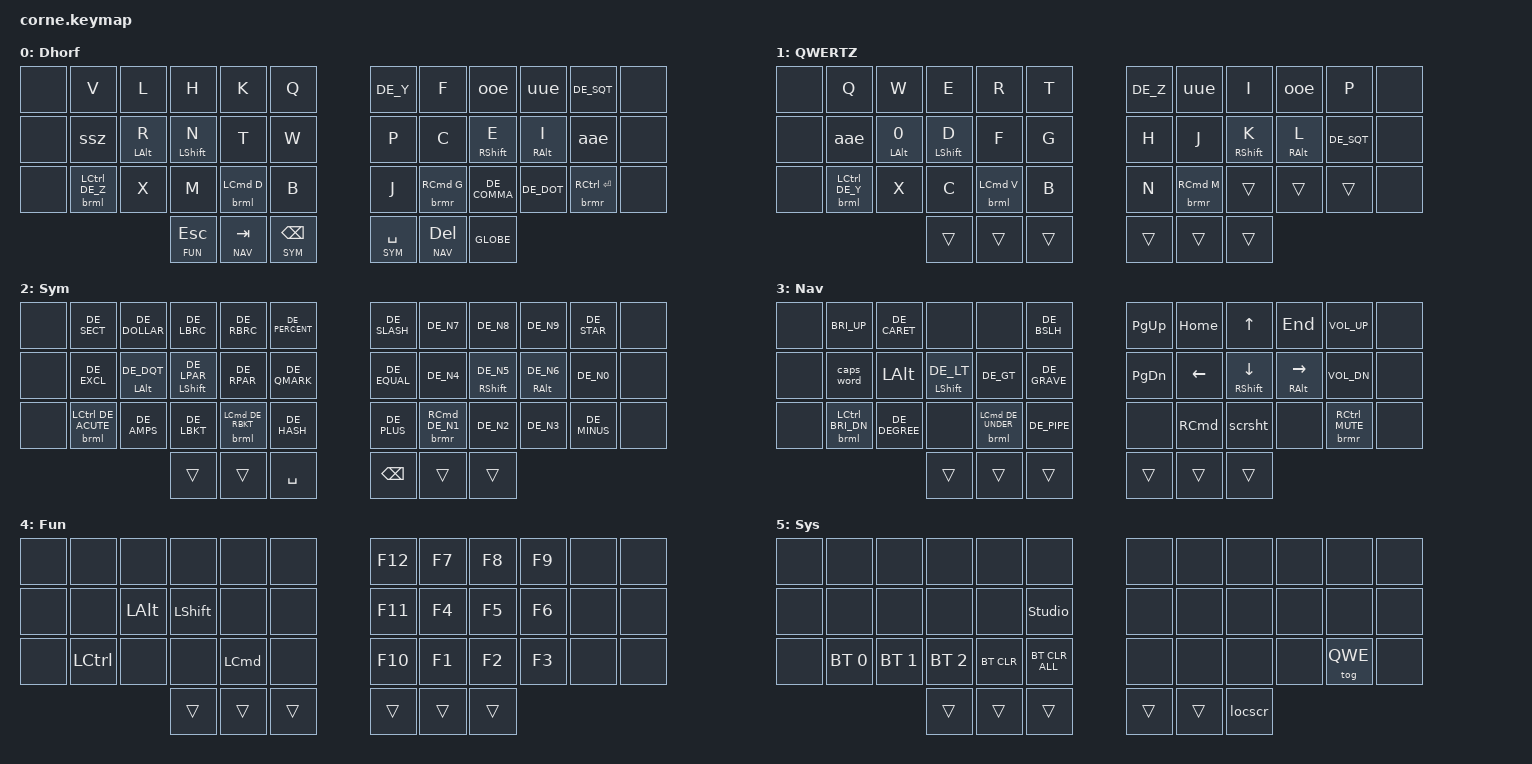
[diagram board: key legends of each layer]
/*
 * Copyright (c) 2020 The ZMK Contributors
 *
 * SPDX-License-Identifier: MIT
 */

#include <behaviors.dtsi>
#include <dt-bindings/zmk/bt.h>
#include <dt-bindings/zmk/keys.h>

#include "keys_de.h"
#include "zmk-helpers/helper.h"
#include "zmk-helpers/key-labels/42.h"

#define KEYS_L LT0 LT1 LT2 LT3 LT4 LM0 LM1 LM2 LM3 LM4 LB0 LB1 LB2 LB3 LB4
#define KEYS_R RT0 RT1 RT2 RT3 RT4 RM0 RM1 RM2 RM3 RM4 RB0 RB1 RB2 RB3 RB4
#define THUMBS_L LH2 LH1 LH0
#define THUMBS_R RH2 RH1 RH0

#define DHO 0
#define QWE 1
#define SYM 2
#define NAV 3
#define FUN 4
#define SYS 5

// CTRL and CMD
#define MAKE_BRM(NAME, HOLD, TAP, TRIGGER_POS)                           \
  ZMK_HOLD_TAP(NAME, bindings = <HOLD>, <TAP>; flavor = "balanced";      \
              tapping-term-ms = <250>; quick-tap-ms = <175>;             \
              require-prior-idle-ms = <150>; hold-trigger-on-release; hold-trigger-key-positions = <TRIGGER_POS>;)

// SHIFT and ALT
#define MAKE_HRM(NAME, HOLD, TAP, TRIGGER_POS)                           \
  ZMK_HOLD_TAP(NAME, bindings = <HOLD>, <TAP>; flavor = "balanced";      \
              tapping-term-ms = <180>; quick-tap-ms = <175>;             \
              hold-trigger-on-release; hold-trigger-key-positions = <TRIGGER_POS>;)

// Left-hand
MAKE_HRM(hrml, &kp, &kp, KEYS_R THUMBS_R)
MAKE_HRM(hrmsz, &kp, &ssz, KEYS_R THUMBS_R)
MAKE_BRM(brml, &kp, &kp, KEYS_R THUMBS_R)


// Right-hand
MAKE_BRM(brmr, &kp, &kp, KEYS_L THUMBS_L)
MAKE_HRM(hrmr, &kp, &kp, KEYS_L THUMBS_L)

&lt {
  flavor = "balanced";
  tapping-term-ms = <250>;
  quick-tap-ms = <200>;
};

&caps_word {
  continue-list = <DE_UNDERSCORE DE_MINUS BACKSPACE DELETE>;
};

/ {

  behaviors {
    uue: umlaut_ue {
        compatible = "zmk,behavior-mod-morph";
        #binding-cells = <0>;
        bindings = <&kp U>, <&kp DE_U_UMLAUT>;
        mods = <(MOD_LALT|MOD_RALT)>;
    };
    aae: umlaut_ae {
        compatible = "zmk,behavior-mod-morph";
        #binding-cells = <0>;
        bindings = <&kp A>, <&kp DE_A_UMLAUT>;
        mods = <(MOD_LALT|MOD_RALT)>;
    };
    ooe: umlaut_oe {
        compatible = "zmk,behavior-mod-morph";
        #binding-cells = <0>;
        bindings = <&kp O>, <&kp DE_O_UMLAUT>;
        mods = <(MOD_LALT|MOD_RALT)>;
    };
    ssz: sharp_s {
        compatible = "zmk,behavior-mod-morph";
        #binding-cells = <0>;
        bindings = <&kp S>, <&kp DE_SZ>;
        mods = <(MOD_LALT|MOD_RALT)>;
    };
  };

  macros {
    locscr: lock_screen {
        compatible = "zmk,behavior-macro";
        #binding-cells = <0>;
        bindings =
                <&macro_press &kp RCTRL &kp RCMD>,
                <&macro_tap &kp Q>,
                <&macro_release &kp RCTRL &kp RCMD>;
    };
    scrsht: screen_shot {
        compatible = "zmk,behavior-macro";
        #binding-cells = <0>;
        bindings =
                <&macro_press &kp LCMD &kp LSHFT>,
                <&macro_tap &kp DE_N4>,
                <&macro_release &kp LCMD &kp LSHFT>;
    };
  };

  keymap {
    compatible = "zmk,keymap";
    dhorf_layer {
      display-name = "Dhorf";
// -----------------------------------------------------------------------------------------
// |      |  V  |  L  |  H  |  K  |  Q  |   |  Y  |  F  |  O  |  U  |  '  |      |
// |      |  S  |  R  |  N  |  T  |  W  |   |  P  |  C  |  E  |  I  |  A  |      |
// |      |  Z  |  X  |  M  |  D  |  B  |   |  J  |  G  |  ,  |  .  | RET |      |
//                    | ESC | TAB |BSPC |   |SPACE| DEL |GLOBE|
                        bindings = <
   &none &kp V            &kp L        &kp H         &kp K        &kp Q          &kp DE_Y      &kp F        &ooe          &uue         &kp DE_SQT      &none
   &none &ssz             &hrml LALT R &hrml LSHFT N &kp T        &kp W          &kp P         &kp C        &hrmr RSHFT E &hrmr RALT I &aae            &none
   &none &brml LCTRL DE_Z &kp X        &kp M         &brml LCMD D &kp B          &kp J         &brmr RCMD G &kp DE_COMMA  &kp DE_DOT   &brmr RCTRL RET &none
                                       &lt FUN ESC   &lt NAV TAB  &lt SYM BSPC   &lt SYM SPACE &lt NAV DEL  &kp GLOBE
                        >;
    };

    qwertz_layer {
      display-name = "QWERTZ";
// -----------------------------------------------------------------------------------------
// |      |  Q  |  W  |  E  |  R  |  T  |   |  Z  |  U  |  I  |  O  |  P  |      |
// |      |  A  |  S  |  D  |  F  |  G  |   |  H  |  J  |  K  |  L  |  '  |      |
// |      |  Y  |  X  |  C  |  V  |  B  |   |  N  |  M  |  ,  |  .  | RET |      |
//                    | ESC | TAB |BSPC |   |SPACE| DEL |GLOBE|
                        bindings = <
   &none &kp Q            &kp W         &kp E         &kp R        &kp T    &kp DE_Z      &uue         &kp I         &ooe         &kp P      &none
   &none &aae             &hrmsz LALT 0 &hrml LSHFT D &kp F        &kp G    &kp H         &kp J        &hrmr RSHFT K &hrmr RALT L &kp DE_SQT &none
   &none &brml LCTRL DE_Y &kp X         &kp C         &brml LCMD V &kp B    &kp N         &brmr RCMD M &trans        &trans       &trans     &none
                                        &trans        &trans       &trans   &trans        &trans       &trans
                        >;
    };

    sym_layer {
      display-name = "Sym";
// -----------------------------------------------------------------------------------------
// |      |  §  |  $  |  {  |  }  |  %  |   |  /  |  7  |  8  |  9  |  *  |      |
// |      |  !  |  "  |  (  |  )  |  ?  |   |  =  |  4  |  5  |  6  |  0  |      |
// |      |  ´  |  &  |  [  |  ]  |  #  |   |  +  |  1  |  2  |  3  |  -  |      |
//                    |     |     |SPACE|   |BSPC |     |     |
                        bindings = <
   &none &kp DE_SECT          &kp DE_DOLLAR     &kp DE_LBRC         &kp DE_RBRC        &kp DE_PERCENT   &kp DE_SLASH &kp DE_N7        &kp DE_N8         &kp DE_N9        &kp DE_STAR  &none
   &none &kp DE_EXCL          &hrml LALT DE_DQT &hrml LSHFT DE_LPAR &kp DE_RPAR        &kp DE_QMARK     &kp DE_EQUAL &kp DE_N4        &hrmr RSHFT DE_N5 &hrmr RALT DE_N6 &kp DE_N0    &none
   &none &brml LCTRL DE_ACUTE &kp DE_AMPS       &kp DE_LBKT         &brml LCMD DE_RBKT &kp DE_HASH      &kp DE_PLUS  &brmr RCMD DE_N1 &kp DE_N2         &kp DE_N3        &kp DE_MINUS &none
                                                &trans              &trans             &kp SPACE        &kp BSPC     &trans           &trans
                        >;
    };

    nav_layer {
      display-name = "Nav";
// -----------------------------------------------------------------------------------------
// |      |BRIUP|  ^  |     |     |  \  |   |PgUp | Home|  ↑  | End |VOLUP|      |
// |      |CAPLO|     |  <  |  >  |  `  |   |PgDn |  ←  |  ↓  |  →  |VOLDO|      |
// |      |BRIDO|  °  |     |  _  |  |  |   |     |     |SHOT |     |MUTE |      |
//                    |     |     |     |   |     |     |     |
                        bindings = <
   &none &kp C_BRI_UP         &kp DE_CARET  &none             &none               &kp DE_BSLH    &kp PG_UP &kp HOME &kp UP           &kp END          &kp C_VOL_UP       &none
   &none &caps_word           &kp LALT      &hrml LSHFT DE_LT &kp DE_GT           &kp DE_GRAVE   &kp PG_DN &kp LEFT &hrmr RSHFT DOWN &hrmr RALT RIGHT &kp C_VOL_DN       &none
   &none &brml LCTRL C_BRI_DN &kp DE_DEGREE &none             &brml LCMD DE_UNDER &kp DE_PIPE    &none     &kp RCMD &scrsht          &none            &brmr RCTRL C_MUTE &none
                                            &trans            &trans              &trans         &trans    &trans   &trans
                        >;
    };

    fun_layer {
      display-name = "Fun";
// -----------------------------------------------------------------------------------------
// |      |     |     |     |     |     |   | F12 | F7  | F8  | F9  |      |      |
// |      |     | ALT |SHFT |     |     |   | F11 | F4  | F5  | F6  |      |      |
// |      |CTRL |     |     | CMD |     |   | F10 | F1  | F2  | F3  |      |      |
//                    |     |     |     |   |     |     |     |
                        bindings = <
   &none &none     &none    &none     &none    &none    &kp F12 &kp F7 &kp F8 &kp F9 &none &none
   &none &none     &kp LALT &kp LSHFT &none    &none    &kp F11 &kp F4 &kp F5 &kp F6 &none &none
   &none &kp LCTRL &none    &none     &kp LCMD &none    &kp F10 &kp F1 &kp F2 &kp F3 &none &none
                            &trans    &trans   &trans   &trans  &trans &trans
                        >;
    };

    sys_layer {
      display-name = "Sys";
// -----------------------------------------------------------------------------------------
// |      |     |     |     |     |     |   |     |     |     |     |     |      |
// |      |     |     |     |     |STUDI|   |     |     |     |     |     |      |
// |      | BT0 | BT1 | BT2 |BTCLR|BCLRA|   |     |     |     |     | QWE |      |
//                    |     |     |     |   |     |     |LOCSC|
                        bindings = <
   &none &none        &none        &none        &none      &none            &none   &none  &none &none &none    &none
   &none &none        &none        &none        &none      &studio_unlock   &none   &none  &none &none &none    &none
   &none &bt BT_SEL 0 &bt BT_SEL 1 &bt BT_SEL 2 &bt BT_CLR &bt BT_CLR_ALL   &none   &none  &none &none &tog QWE &none
                                   &trans       &trans     &trans           &trans  &trans &locscr
                        >;
    };

  };

  conditional_layers {
    compatible = "zmk,conditional-layers";
    sys_layer {
      if-layers = <SYM NAV>;
      then-layer = <SYS>;
    };
  };
};
